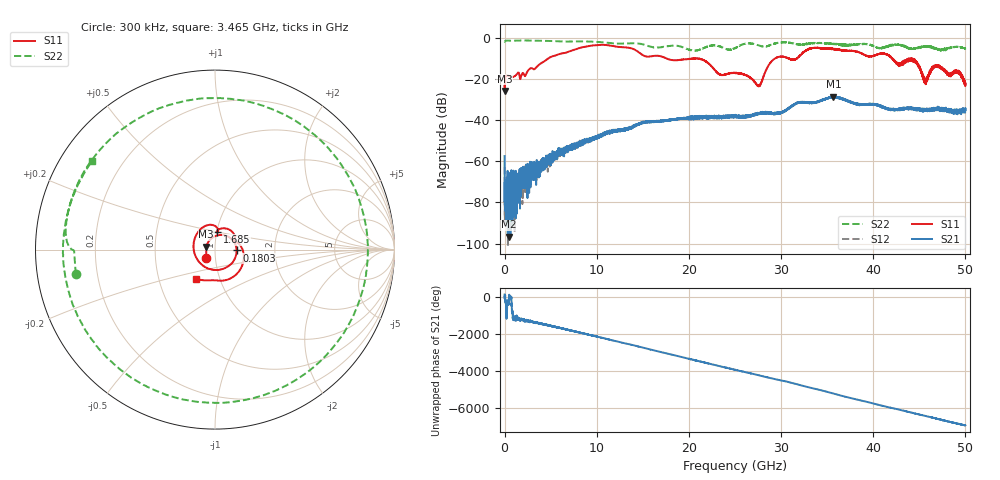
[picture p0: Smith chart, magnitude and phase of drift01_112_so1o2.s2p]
!Created with skrf (http://scikit-rf.org).
# Hz S RI R 50.0
!freq ReS11 ImS11 ReS21 ImS21 ReS12 ImS12 ReS22 ImS22
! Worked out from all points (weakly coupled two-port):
!   10001 points, 300 kHz to 50 GHz, reference 50 ohm
!   highest |S21| = -28.73 dB at 35.68 GHz (marker M1); lowest = -96.6 dB at 425.3 MHz (marker M2)
!   lowest |S11| = -25.8 dB at 5.3 MHz (marker M3), VSWR 1.11, Z = 45.3 + j1.4 ohm
!   |S11| at or under -10 dB: start of sweep to 4.768 GHz; 17.52 GHz to 29.39 GHz (11.86 GHz wide, 50.6 % of centre); 42.05 GHz to end of sweep (the widest 3 of 7)
!   |S22| runs from -6.4 to -1.4 dB; largest |S21 - S12| = 0.0041
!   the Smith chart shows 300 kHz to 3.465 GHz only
!   S11 on the Smith chart (normalised r, x): 300 kHz: 0.90, -0.08; 180.3 MHz: 1.27, -0.01; 1.685 GHz: 1.01, +0.20; 3.465 GHz: 0.77, -0.26
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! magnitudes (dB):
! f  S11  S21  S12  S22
! 300 kHz  -23.5  -57.5  -62.8  -2.1
! 5.3 MHz  -25.8  -69.5  -77.9  -2.1
! 180.3 MHz  -18.4  -69.8  -77.6  -1.4
! 425.3 MHz  -18.6  -96.6  -75.1  -1.4
! 1.685 GHz  -20.1  -64.0  -66.5  -1.4
! 3.465 GHz  -14.3  -62.7  -67.2  -1.5
! 8.335 GHz  -4.8  -50.9  -50.5  -1.8
! 16.67 GHz  -8.8  -40.5  -40.7  -4.8
! 21.22 GHz  -10.3  -38.6  -38.4  -5.7
! 23.39 GHz  -17.9  -38.9  -38.5  -4.4
! 25 GHz  -17.1  -38.2  -38.3  -5.1
! 27.59 GHz  -23.5  -36.8  -36.8  -3.8
! 29.28 GHz  -10.3  -36.9  -37.0  -2.9
! 31.47 GHz  -10.7  -32.4  -32.4  -2.9
! 33.34 GHz  -5.1  -32.0  -31.6  -2.7
! 35.68 GHz  -5.5  -28.7  -28.9  -3.1
! 41.67 GHz  -8.7  -34.7  -34.7  -4.2
! 42.8 GHz  -13.2  -34.6  -34.6  -3.6
! 44.4 GHz  -11.1  -34.3  -34.6  -5.4
! 45.64 GHz  -20.4  -35.5  -35.4  -4.2
! 46.97 GHz  -13.4  -34.9  -34.4  -5.6
! 50 GHz  -22.1  -35.2  -35.7  -5.3
